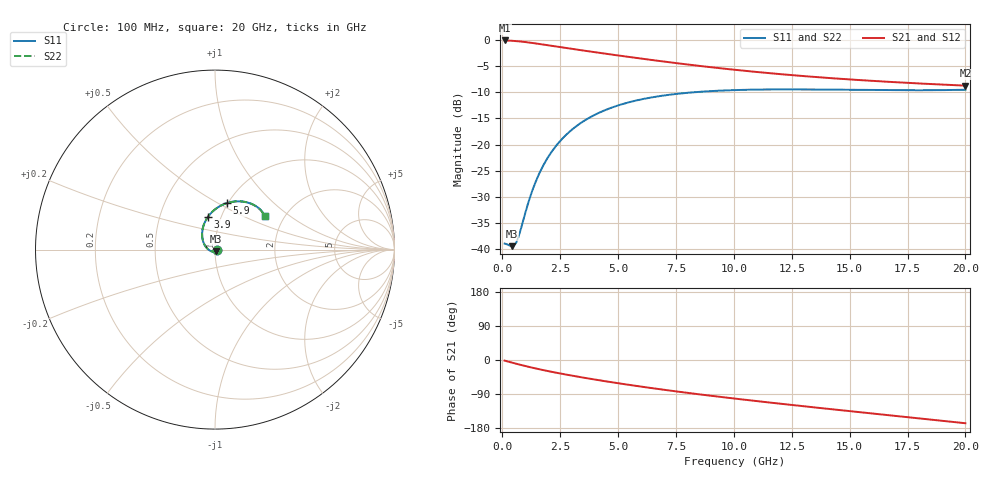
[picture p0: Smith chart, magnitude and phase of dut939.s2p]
! Touchstone file exported from HFSS 2024.1.0
!  File:  C:/UserFiles/LocalFiles/RDL_TSV_Batchsim/temp_RDL_TSV_939_1779962942.aedt
!  Generated:  06:24:05 PM May 28, 2026
!  Design:  RDL_TSV
!  Project:  temp_RDL_TSV_939_1779962942
!  Setup:  Setup1
!  Solution:  Sweep
! Variables:
!  dtsv = 11.97um
!  hbump = 3um
!  htsv = 90.66um
!  ldown = 257.25um
!  lrdl = 299.41um
!  p = 40
!  p1 = 55.69um
!  rhole = 10um
!  subl = 1969.39um
!  t = 450um
!  tdown = 3.28um
!  trdl = 4.63um
!  viad = 10um
!  wdown = 19.77um
!  wrdl = 13.82um
!  xbump = 18um
# GHz S MA R 50.000000
! Terminal data exported
! Port[1] = TM1_1_T1
! Port[2] = TM1_4_T1
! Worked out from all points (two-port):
!   200 points, 100 MHz to 20 GHz, reference 50 ohm
!   highest |S21| = -0.10 dB at 100 MHz (marker M1); lowest = -8.7 dB at 20 GHz (marker M2)
!   |S21| within 3 dB of the highest: start of sweep to 5.226 GHz
!   lowest |S11| = -39.4 dB at 400 MHz (marker M3), VSWR 1.02, Z = 50.6 - j0.894 ohm
!   |S11| at or under -10 dB: start of sweep to 8.258 GHz
!   |S22| runs from -39.4 to -9.5 dB; largest |S21 - S12| = 1.7e-14
!   S11 on the Smith chart (normalised r, x): 100 MHz: 1.02, -0.00; 3.9 GHz: 0.87, +0.33; 5.9 GHz: 0.99, +0.55; 20 GHz: 1.59, +0.67
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0.1  0.01136 -11.5  0.9881 -1.7  0.9881 -1.7  0.01136 -11.5
! Gamma 0 0 0 0
! Port Impedance 50 0 50 0
0.4  0.01073 -55.3  0.9815 -6.7  0.9815 -6.7  0.01074 -55.3
0.5  0.01086 -74.4  0.9781 -8.3  0.9781 -8.3  0.01086 -74.4
0.6  0.0116 -94.6  0.9741 -9.9  0.9741 -9.9  0.01161 -94.6
0.7  0.01317 -113.8  0.9697 -11.4  0.9697 -11.4  0.01317 -113.7
1.1  0.02684 -165.1  0.9477 -17.5  0.9477 -17.5  0.02683 -165.1
1.3  0.03658 179.9  0.935 -20.4  0.935 -20.4  0.03657 180.0
1.6  0.05319 163.4  0.9148 -24.5  0.9148 -24.5  0.05316 163.4
1.9  0.07117 150.7  0.8942 -28.3  0.8942 -28.3  0.07114 150.8
2.2  0.08976 140.4  0.8737 -32.0  0.8737 -32.0  0.08972 140.4
2.6  0.1146 128.8  0.8472 -36.7  0.8472 -36.7  0.1145 128.9
3.5  0.167 108.9  0.7917 -46.5  0.7917 -46.5  0.1669 108.9
3.9  0.1879 101.8  0.7688 -50.6  0.7688 -50.6  0.1878 101.8
4.8  0.2288 88.4  0.7208 -59.4  0.7208 -59.4  0.2287 88.4
5.9  0.2675 75.7  0.6677 -69.4  0.6677 -69.4  0.2673 75.7
6.8  0.2909 67.3  0.6287 -77.1  0.6287 -77.1  0.2907 67.3
8.4  0.318 55.8  0.5686 -89.8  0.5686 -89.8  0.3178 55.8
10.1  0.3322 47.1  0.5168 -102.3  0.5168 -102.3  0.3319 47.1
11.7  0.3366 41.2  0.4777 -113.3  0.4777 -113.3  0.3363 41.3
13.4  0.3361 37.1  0.4445 -124.6  0.4445 -124.6  0.3358 37.1
16.7  0.3309 33.6  0.3978 -145.8  0.3978 -145.8  0.3306 33.7
20  0.3343 34.1  0.3659 -166.9  0.3659 -166.9  0.3341 34.2
